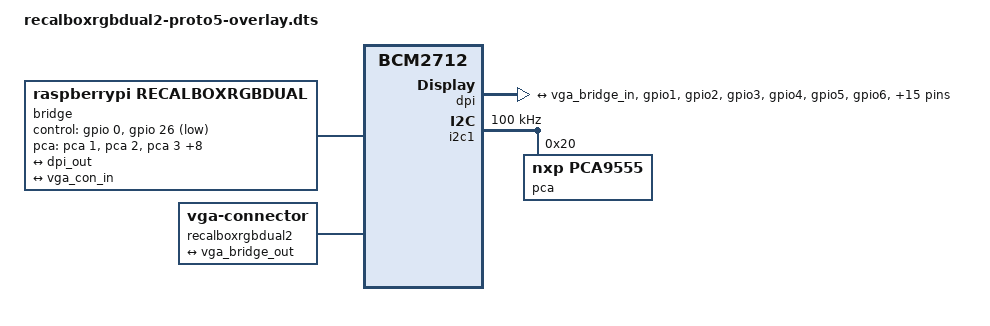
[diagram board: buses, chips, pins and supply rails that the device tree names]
/dts-v1/;
/plugin/;

#include <dt-bindings/gpio/gpio.h>

/ {
    compatible = "brcm,bcm2712";
    fragment@0 {
        target = <&gpio>;
        __overlay__ {
            control_gpio: control_gpio_conf {
                brcm,pins = <0 26>; // 0 = AUDIO_ENABLE, 26 = GPIO-SCART-12V (widescreen)
                brcm,function = <1 1>; // OUT
                brcm,pull = <0 0>;
            };
        };
    };
    fragment@1 {
        target-path = "/";
        __overlay__ {

            bridge: recalboxrgbdual2 {
                compatible = "raspberrypi,recalboxrgbdual";
                #address-cells = <1>;
                #size-cells = <0>;

                vc4-vga666-mode = <6>;
                recalbox-rgb-dual-2 = <5>;


                // RPI GPIOS  0 = audio_enable, 26 = GPIO_OUTPUT_PIO
                control-gpios = <&gpio 0 0>, <&gpio 26 1>;

                /*
                 * RGBDUAL 2 - PROTO 5
                 *                                             __________
                 *                                IO0-1  <--- |0        8| ---> IO1-0     VERSION-0
                 *   GPIO_VIDEO_FILTER_BYPASS     IO0-1  <--- |1        9| ---> IO1-1     VERSION-1
                 *   FORCE-50HZ                   IO0-2  <--- |2       10| ---> IO1-2     VERSION-2
                 *   FORCE-31KHZ                  IO0-3  <--- |3       11| ---> IO1-3     VERSION-3
                 *   FORCE-COMP                   IO0-4  <--- |4       12| ---> IO1-4     GPIO_RGB_ENABLE
                 *   GPIO-SCART-COMP              IO0-5  <--- |5       13| ---> IO1-5     GPIO_DAC_ENABLE
                 *   GPIO-SCART-12V               IO0-6  <--- |6       14| ---> IO1-6     GPIO-SCART-ENABLE
                 *   GPIO_SW_PIO_CSYNC_RCA        IO0-7  <--- |7       15| ---> IO1-7     GPIO-CSYNC-RPI5
                 *                                             ‾‾‾‾‾‾‾‾‾‾
                 */
                // TCA GPIOS = filter_bypass, force_50Hz, force_31kHz, force_comp, scart_comp,  rgb_enable,  dac_enable,  scart_enable, csync_rpi5,  scart-12v,  pio-on-rca
                pca-gpios    = <&pca 1 0>,    <&pca 2 0>, <&pca 3 0>,  <&pca 4 0>,  <&pca 5 0>, <&pca 12 0>, <&pca 13 0>, <&pca 14 1>,  <&pca 15 0>, <&pca 6 0>, <&pca 7 0>;
                pinctrl-0 = <&control_gpio>;
                pinctrl-names = "default";

                ports {
                    #address-cells = <1>;
                    #size-cells = <0>;

                    port@0 {
                        reg = <0>;
                        vga_bridge_in: endpoint {
                            remote-endpoint = <&dpi_out>;
                        };
                    };

                    port@1 {
                        reg = <1>;
                        vga_bridge_out: endpoint {
                            remote-endpoint = <&vga_con_in>;
                        };
                    };
                };
            };

            vga {
                compatible = "vga-connector";
                label = "recalboxrgbdual2";
                port {
                    vga_con_in: endpoint {
                        remote-endpoint = <&vga_bridge_out>;
                    };
                };
            };
        };
    };

    fragment@2 {
        target = <&dpi>;
        __overlay__  {
            // Not enabled by default, see rgbdualvideo.dtbo
            //status = "okay";
            pinctrl-names = "default";
            pinctrl-0 = <&vga666_mode6_pins>;
            port {
                dpi_out: endpoint@0 {
                    remote-endpoint = <&vga_bridge_in>;
                };
            };
        };
    };

    fragment@3 {
        target = <&gpio>;
        __overlay__ {
            vga666_mode6_pins: vga666_mode6_pins {
                function = "dpi";
                pins = "gpio1", "gpio2", "gpio3",
                       "gpio4", "gpio5", "gpio6", "gpio7",
                       "gpio8", "gpio9",
                       "gpio12", "gpio13", "gpio14", "gpio15",
                       "gpio16", "gpio17",
                       "gpio20", "gpio21", "gpio22", "gpio23",
                       "gpio24", "gpio25";
                bias-disable;
            };
        };
    };


    // I2S audio
    fragment@100 {
        target = <&rp1_gpio>;
        __overlay__ {
            rp1_i2s0_dual: rp1_i2s0_dual {
                function = "i2s0";
                pins = "gpio18", "gpio19", "gpio27";
                bias-disable;
            };
        };
    };
    fragment@101 {
        target = <&i2s_clk_producer>;
        __overlay__ {
            pinctrl-names = "default";
            pinctrl-0 = <&rp1_i2s0_dual>;
            status = "okay";
        };
    };


    fragment@102 {
        target = <&sound>;
        __overlay__ {
            compatible = "simple-audio-card";
            simple-audio-card,name = "Recalbox RGB DUAL 2";
            status = "okay";
            simple-audio-card,dai-link@1 {
                format = "i2s";
                cpu {
                    sound-dai = <&i2s_clk_producer>;
                    dai-tdm-slot-num = <2>;
                    dai-tdm-slot-width = <32>;
                };
                codec {
                    sound-dai = <&codec_out>;
                };
            };
        };
    };

    fragment@103 {
        target-path = "/";
        __overlay__ {
            codec_out: recalbox_i2s {
                #sound-dai-cells = <0>;
                compatible = "recalbox_i2s";
                status = "okay";
            };
        };
    };

    // Config Chip
    fragment@200 {
        target = <&i2c1>;
        __overlay__ {
            #address-cells = <1>;
            #size-cells = <0>;
            status = "okay";
            pinctrl-names = "default";
            pinctrl-0 = <&rp1_i2c1_10_11>;
            clock-frequency = <100000>;
            read-timeout-ms = <50>;

            pca: pca@20 {
                compatible = "nxp,pca9555";
                reg = <0x20>;
                gpio-controller;
                #gpio-cells = <2>;
                status = "okay";
            };
        };
    };
};
